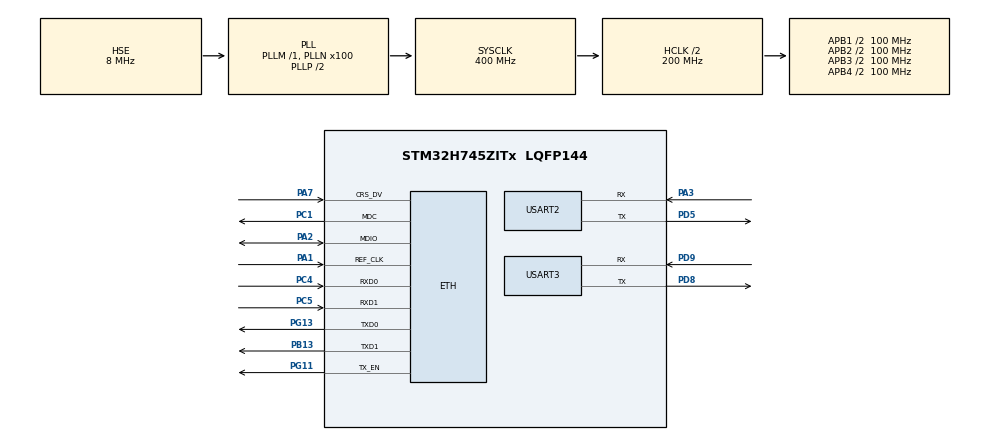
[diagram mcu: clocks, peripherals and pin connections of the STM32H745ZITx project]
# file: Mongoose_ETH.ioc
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CortexM4.IPs=FATFS_M4\:I,FREERTOS_M4\:I,IWDG2\:I,RCC,WWDG2\:I,DMA,BDMA,MDMA,NVIC2\:I,DEBUG,USB_DEVICE_M4\:I,USB_HOST_M4\:I,PDM2PCM_M4\:I,PWR,RESMGR_UTILITY,SYS_M4\:I,CORTEX_M4\:I,OPENAMP_M4\:I,VREFBUF,GPIO,USART2
CortexM7.IPs=FATFS_M7\:I,FREERTOS_M7\:I,IWDG1\:I,RCC\:I,WWDG1\:I,DMA\:I,BDMA\:I,MDMA\:I,NVIC1\:I,SYS\:I,USB_OTG_FS\:I,ETH\:I,CORTEX_M7\:I,DEBUG\:I,USB_DEVICE_M7\:I,USB_HOST_M7\:I,PDM2PCM_M7\:I,PWR\:I,RESMGR_UTILITY\:I,OPENAMP_M7\:I,VREFBUF\:I,GPIO\:I,USART3\:I,RNG\:I,USART2\:I
ETH.MediaInterface=HAL_ETH_RMII_MODE
ETH.RxDescAddress=0x30000000
ETH.TxDescAddress=0x30000080
Mcu.Family=STM32H7
Mcu.Name=STM32H745ZITx
Mcu.Package=LQFP144
NVIC1.ETH_IRQn=true\:0\:0\:false\:false\:true\:true\:true\:true
NVIC1.PriorityGroup=NVIC_PRIORITYGROUP_4
NVIC1.USART2_IRQn=true\:0\:0\:false\:false\:true\:true\:true\:true
NVIC2.PriorityGroup=NVIC_PRIORITYGROUP_4
PA1.GPIO_Speed=GPIO_SPEED_FREQ_LOW
PA1.Mode=RMII
PA1.PinAttribute=CortexM7
PA1.Signal=ETH_REF_CLK
PA2.GPIO_Speed=GPIO_SPEED_FREQ_LOW
PA2.Mode=RMII
PA2.PinAttribute=CortexM7
PA2.Signal=ETH_MDIO
PA3.Mode=Asynchronous
PA3.PinAttribute=CortexM7
PA3.Signal=USART2_RX
PA7.GPIO_Speed=GPIO_SPEED_FREQ_LOW
PA7.Mode=RMII
PA7.PinAttribute=CortexM7
PA7.Signal=ETH_CRS_DV
PB13.GPIO_Speed=GPIO_SPEED_FREQ_LOW
PB13.Mode=RMII
PB13.PinAttribute=CortexM7
PB13.Signal=ETH_TXD1
PC1.Mode=RMII
PC1.PinAttribute=CortexM7
PC1.Signal=ETH_MDC
PC4.GPIO_Speed=GPIO_SPEED_FREQ_LOW
PC4.Mode=RMII
PC4.PinAttribute=CortexM7
PC4.Signal=ETH_RXD0
PC5.GPIO_Speed=GPIO_SPEED_FREQ_LOW
PC5.Mode=RMII
PC5.PinAttribute=CortexM7
PC5.Signal=ETH_RXD1
PD5.Mode=Asynchronous
PD5.PinAttribute=CortexM7
PD5.Signal=USART2_TX
PD8.Mode=Asynchronous
PD8.PinAttribute=CortexM7
PD8.Signal=USART3_TX
PD9.Mode=Asynchronous
PD9.PinAttribute=CortexM7
PD9.Signal=USART3_RX
PG11.GPIO_Speed=GPIO_SPEED_FREQ_LOW
PG11.Mode=RMII
PG11.PinAttribute=CortexM7
PG11.Signal=ETH_TX_EN
PG13.GPIO_Speed=GPIO_SPEED_FREQ_LOW
PG13.Mode=RMII
PG13.PinAttribute=CortexM7
PG13.Signal=ETH_TXD0
PH0-OSC_IN\ (PH0).Mode=HSE-External-Oscillator
PH0-OSC_IN\ (PH0).PinAttribute=Free
PH0-OSC_IN\ (PH0).Signal=RCC_OSC_IN
PH1-OSC_OUT\ (PH1).Mode=HSE-External-Oscillator
PH1-OSC_OUT\ (PH1).PinAttribute=Free
PH1-OSC_OUT\ (PH1).Signal=RCC_OSC_OUT
ProjectManager.HeapSize=M4-0x200,M7-0x200
ProjectManager.StackSize=M4-0x400,M7-0x400
ProjectManager.TargetToolchain=STM32CubeIDE
RCC.ADCFreq_Value=16125000
RCC.APB1Freq_Value=100000000
RCC.APB2Freq_Value=100000000
RCC.APB3Freq_Value=100000000
RCC.APB4Freq_Value=100000000
RCC.CortexFreq_Value=400000000
RCC.D1PPRE=RCC_APB3_DIV2
RCC.D2PPRE1=RCC_APB1_DIV2
RCC.D2PPRE2=RCC_APB2_DIV2
RCC.D3PPRE=RCC_APB4_DIV2
RCC.DIVM1=1
RCC.DIVM3=1
RCC.DIVN1=100
RCC.DIVN3=18
RCC.DIVQ3=3
RCC.HCLKFreq_Value=200000000
RCC.HPRE=RCC_HCLK_DIV2
RCC.HSE_VALUE=8000000
RCC.PLL2FRACN=0
RCC.PLL3FRACN=6144
RCC.PLLFRACN=0
RCC.PLLSourceVirtual=RCC_PLLSOURCE_HSE
RCC.SYSCLKFreq_VALUE=400000000
RCC.SYSCLKSource=RCC_SYSCLKSOURCE_PLLCLK
RCC.SupplySource=PWR_DIRECT_SMPS_SUPPLY
RCC.USBCLockSelection=RCC_USBCLKSOURCE_PLL3
RCC.USBFreq_Value=50000000
USART2.VirtualMode-Asynchronous=VM_ASYNC
USART3.VirtualMode-Asynchronous=VM_ASYNC
VP_RNG_VS_RNG.Mode=RNG_Activate
VP_SYS_M4_VS_Systick.Mode=SysTick
board=NUCLEO-H745ZI-Q

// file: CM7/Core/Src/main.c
/* USER CODE BEGIN Header */
/**
  ******************************************************************************
  * @file           : main.c
  * @brief          : Main program body
  ******************************************************************************
  * @attention
  *
  * Copyright (c) 2024 STMicroelectronics.
  * All rights reserved.
  *
  * This software is licensed under terms that can be found in the LICENSE file
  * in the root directory of this software component.
  * If no LICENSE file comes with this software, it is provided AS-IS.
  *
  ******************************************************************************
  */
/* USER CODE END Header */
#include "main.h"
#include "string.h"

/* USER CODE BEGIN Includes */
/* USER CODE BEGIN Includes */
#include "mongoose_glue.h"
/* USER CODE END Includes */

/* USER CODE BEGIN PD */

#ifndef HSEM_ID_0
#define HSEM_ID_0 (0U) /* HW semaphore 0*/
#endif

/* USER CODE END PD */

/* USER CODE BEGIN PM */
#define scaling_factor 0.01f
/* USER CODE END PM */

#if defined ( __ICCARM__ ) /*!< IAR Compiler */
#pragma location=0x30000000
ETH_DMADescTypeDef  DMARxDscrTab[ETH_RX_DESC_CNT]; /* Ethernet Rx DMA Descriptors */
#pragma location=0x30000080
ETH_DMADescTypeDef  DMATxDscrTab[ETH_TX_DESC_CNT]; /* Ethernet Tx DMA Descriptors */

#elif defined ( __CC_ARM )  /* MDK ARM Compiler */

__attribute__((at(0x30000000))) ETH_DMADescTypeDef  DMARxDscrTab[ETH_RX_DESC_CNT]; /* Ethernet Rx DMA Descriptors */
__attribute__((at(0x30000080))) ETH_DMADescTypeDef  DMATxDscrTab[ETH_TX_DESC_CNT]; /* Ethernet Tx DMA Descriptors */

#elif defined ( __GNUC__ ) /* GNU Compiler */

ETH_DMADescTypeDef DMARxDscrTab[ETH_RX_DESC_CNT] __attribute__((section(".RxDecripSection"))); /* Ethernet Rx DMA Descriptors */
ETH_DMADescTypeDef DMATxDscrTab[ETH_TX_DESC_CNT] __attribute__((section(".TxDecripSection")));   /* Ethernet Tx DMA Descriptors */
#endif

ETH_TxPacketConfig TxConfig;
ETH_HandleTypeDef heth;
RNG_HandleTypeDef hrng;
UART_HandleTypeDef huart2;
UART_HandleTypeDef huart3;

/* USER CODE BEGIN PV */
float scaledValue = 0.0f;
volatile uint16_t uart_hex_value = 0;  // Stores parsed HEX value
volatile bool uart_data_ready = false; // Flag for new data
uint8_t uart_rx_buffer[128];           // UART receive buffer
/* USER CODE END PV */

void SystemClock_Config(void);
static void MX_GPIO_Init(void);
static void MX_ETH_Init(void);
static void MX_USART3_UART_Init(void);
static void MX_RNG_Init(void);
static void MX_USART2_UART_Init(void);
/* USER CODE BEGIN PFP */
//static void run_mongoose(void);
void modbus_handler(void *arg);
/* USER CODE END PFP */

/* USER CODE BEGIN 0 */

bool mg_random(void *buf, size_t len) {  // Use on-board RNG
  for (size_t n = 0; n < len; n += sizeof(uint32_t)) {
    uint32_t r;
    HAL_RNG_GenerateRandomNumber(&hrng, &r);
    memcpy((char *) buf + n, &r, n + sizeof(r) > len ? len - n : sizeof(r));
  }
  return true; // TODO(): ensure successful RNG init, then return on false above
}

uint64_t mg_millis(void) {
  return HAL_GetTick();
}

int _write(int fd, unsigned char *buf, int len) {
  if (fd == 1 || fd == 2) {                     // stdout or stderr ?
    HAL_UART_Transmit(&huart3, buf, len, 999);  // Print to the UART
  }
  return len;
}

void HAL_UART_RxCpltCallback(UART_HandleTypeDef *huart) {
  if (huart == &huart2) {
    size_t received_len = huart->RxXferSize - huart->RxXferCount;
    if (received_len >= sizeof(uart_rx_buffer)) {
      received_len = sizeof(uart_rx_buffer) - 1;
    }
    uart_rx_buffer[received_len] = '\0';
    char *ptr = strstr((char*)uart_rx_buffer, "udpr");
    if (ptr != NULL) {
      char *hex_start = strrchr(ptr, ' ');
      if (hex_start != NULL) {
        hex_start++;
        char *endptr;
        errno = 0;
        unsigned long value = strtoul(hex_start, &endptr, 16);
        if (endptr != hex_start && errno == 0 && value <= UINT16_MAX) {
          uart_hex_value = (uint16_t)value;
          uart_data_ready = true;
        } else {
          uart_hex_value = 1;
        }
      }
    }
    HAL_UART_Receive_IT(&huart2, uart_rx_buffer, sizeof(uart_rx_buffer));
  }
}

/* USER CODE END 0 */

int main(void)
{

/* USER CODE BEGIN Boot_Mode_Sequence_0 */
//  int32_t timeout;
/* USER CODE END Boot_Mode_Sequence_0 */

/* USER CODE BEGIN Boot_Mode_Sequence_1 */
  /* Wait until CPU2 boots and enters in stop mode or timeout*/
//  timeout = 0xFFFF;
//  while((__HAL_RCC_GET_FLAG(RCC_FLAG_D2CKRDY) != RESET) && (timeout-- > 0));
//  if ( timeout < 0 )
//  {
//  Error_Handler();
//  }
/* USER CODE END Boot_Mode_Sequence_1 */
  /* MCU Configuration--------------------------------------------------------*/

  /* Reset of all peripherals, Initializes the Flash interface and the Systick. */
  HAL_Init();

  /* Configure the system clock */
  SystemClock_Config();
/* USER CODE BEGIN Boot_Mode_Sequence_2 */
/* When system initialization is finished, Cortex-M7 will release Cortex-M4 by means of
HSEM notification */
/*HW semaphore Clock enable*/
//__HAL_RCC_HSEM_CLK_ENABLE();
///*Take HSEM */
//HAL_HSEM_FastTake(HSEM_ID_0);
///*Release HSEM in order to notify the CPU2(CM4)*/
//HAL_HSEM_Release(HSEM_ID_0,0);
/* wait until CPU2 wakes up from stop mode */
//timeout = 0xFFFF;
//while((__HAL_RCC_GET_FLAG(RCC_FLAG_D2CKRDY) == RESET) && (timeout-- > 0));
//if ( timeout < 0 )
//{
//Error_Handler();
//}
/* USER CODE END Boot_Mode_Sequence_2 */

  /* Initialize all configured peripherals */
  MX_GPIO_Init();
  MX_ETH_Init();
  MX_USART3_UART_Init();
  MX_RNG_Init();
  MX_USART2_UART_Init();
  /* USER CODE BEGIN 2 */
  HAL_UART_Receive_IT(&huart2, uart_rx_buffer, sizeof(uart_rx_buffer));
  mongoose_init();
  /* USER CODE END 2 */

  /* Infinite loop */
  while (1)
  {

    /* USER CODE BEGIN 3 */
	  mongoose_poll();

  }
  /* USER CODE END 3 */
}

void SystemClock_Config(void)
{
  RCC_OscInitTypeDef RCC_OscInitStruct = {0};
  RCC_ClkInitTypeDef RCC_ClkInitStruct = {0};

  /** Supply configuration update enable
  */
  HAL_PWREx_ConfigSupply(PWR_DIRECT_SMPS_SUPPLY);

  /** Configure the main internal regulator output voltage
  */
  __HAL_PWR_VOLTAGESCALING_CONFIG(PWR_REGULATOR_VOLTAGE_SCALE1);

  while(!__HAL_PWR_GET_FLAG(PWR_FLAG_VOSRDY)) {}

  /** Initializes the RCC Oscillators according to the specified parameters
  * in the RCC_OscInitTypeDef structure.
  */
  RCC_OscInitStruct.OscillatorType = RCC_OSCILLATORTYPE_HSI48|RCC_OSCILLATORTYPE_HSE;
  RCC_OscInitStruct.HSEState = RCC_HSE_ON;
  RCC_OscInitStruct.HSI48State = RCC_HSI48_ON;
  RCC_OscInitStruct.PLL.PLLState = RCC_PLL_ON;
  RCC_OscInitStruct.PLL.PLLSource = RCC_PLLSOURCE_HSE;
  RCC_OscInitStruct.PLL.PLLM = 1;
  RCC_OscInitStruct.PLL.PLLN = 100;
  RCC_OscInitStruct.PLL.PLLP = 2;
  RCC_OscInitStruct.PLL.PLLQ = 2;
  RCC_OscInitStruct.PLL.PLLR = 2;
  RCC_OscInitStruct.PLL.PLLRGE = RCC_PLL1VCIRANGE_3;
  RCC_OscInitStruct.PLL.PLLVCOSEL = RCC_PLL1VCOWIDE;
  RCC_OscInitStruct.PLL.PLLFRACN = 0;
  if (HAL_RCC_OscConfig(&RCC_OscInitStruct) != HAL_OK)
  {
    Error_Handler();
  }

  /** Initializes the CPU, AHB and APB buses clocks
  */
  RCC_ClkInitStruct.ClockType = RCC_CLOCKTYPE_HCLK|RCC_CLOCKTYPE_SYSCLK
                              |RCC_CLOCKTYPE_PCLK1|RCC_CLOCKTYPE_PCLK2
                              |RCC_CLOCKTYPE_D3PCLK1|RCC_CLOCKTYPE_D1PCLK1;
  RCC_ClkInitStruct.SYSCLKSource = RCC_SYSCLKSOURCE_PLLCLK;
  RCC_ClkInitStruct.SYSCLKDivider = RCC_SYSCLK_DIV1;
  RCC_ClkInitStruct.AHBCLKDivider = RCC_HCLK_DIV2;
  RCC_ClkInitStruct.APB3CLKDivider = RCC_APB3_DIV2;
  RCC_ClkInitStruct.APB1CLKDivider = RCC_APB1_DIV2;
  RCC_ClkInitStruct.APB2CLKDivider = RCC_APB2_DIV2;
  RCC_ClkInitStruct.APB4CLKDivider = RCC_APB4_DIV2;

  if (HAL_RCC_ClockConfig(&RCC_ClkInitStruct, FLASH_LATENCY_2) != HAL_OK)
  {
    Error_Handler();
  }
}

static void MX_ETH_Init(void)
{

   static uint8_t MACAddr[6];

  heth.Instance = ETH;
  MACAddr[0] = 0x00;
  MACAddr[1] = 0x80;
  MACAddr[2] = 0xE1;
  MACAddr[3] = 0x00;
  MACAddr[4] = 0x00;
  MACAddr[5] = 0x00;
  heth.Init.MACAddr = &MACAddr[0];
  heth.Init.MediaInterface = HAL_ETH_RMII_MODE;
  heth.Init.TxDesc = DMATxDscrTab;
  heth.Init.RxDesc = DMARxDscrTab;
  heth.Init.RxBuffLen = 1524;

  if (HAL_ETH_Init(&heth) != HAL_OK)
  {
    Error_Handler();
  }

  memset(&TxConfig, 0 , sizeof(ETH_TxPacketConfig));
  TxConfig.Attributes = ETH_TX_PACKETS_FEATURES_CSUM | ETH_TX_PACKETS_FEATURES_CRCPAD;
  TxConfig.ChecksumCtrl = ETH_CHECKSUM_IPHDR_PAYLOAD_INSERT_PHDR_CALC;
  TxConfig.CRCPadCtrl = ETH_CRC_PAD_INSERT;

}

static void MX_RNG_Init(void)
{

  hrng.Instance = RNG;
  hrng.Init.ClockErrorDetection = RNG_CED_ENABLE;
  if (HAL_RNG_Init(&hrng) != HAL_OK)
  {
    Error_Handler();
  }

}

static void MX_USART2_UART_Init(void)
{

  huart2.Instance = USART2;
  huart2.Init.BaudRate = 115200;
  huart2.Init.WordLength = UART_WORDLENGTH_8B;
  huart2.Init.StopBits = UART_STOPBITS_1;
  huart2.Init.Parity = UART_PARITY_NONE;
  huart2.Init.Mode = UART_MODE_TX_RX;
  huart2.Init.HwFlowCtl = UART_HWCONTROL_NONE;
  huart2.Init.OverSampling = UART_OVERSAMPLING_16;
  huart2.Init.OneBitSampling = UART_ONE_BIT_SAMPLE_DISABLE;
  huart2.Init.ClockPrescaler = UART_PRESCALER_DIV1;
  huart2.AdvancedInit.AdvFeatureInit = UART_ADVFEATURE_NO_INIT;
  if (HAL_UART_Init(&huart2) != HAL_OK)
  {
    Error_Handler();
  }
  if (HAL_UARTEx_SetTxFifoThreshold(&huart2, UART_TXFIFO_THRESHOLD_1_8) != HAL_OK)
  {
    Error_Handler();
  }
  if (HAL_UARTEx_SetRxFifoThreshold(&huart2, UART_RXFIFO_THRESHOLD_1_8) != HAL_OK)
  {
    Error_Handler();
  }
  if (HAL_UARTEx_DisableFifoMode(&huart2) != HAL_OK)
  {
    Error_Handler();
  }

}

static void MX_USART3_UART_Init(void)
{

  huart3.Instance = USART3;
  huart3.Init.BaudRate = 115200;
  huart3.Init.WordLength = UART_WORDLENGTH_8B;
  huart3.Init.StopBits = UART_STOPBITS_1;
  huart3.Init.Parity = UART_PARITY_NONE;
  huart3.Init.Mode = UART_MODE_TX_RX;
  huart3.Init.HwFlowCtl = UART_HWCONTROL_NONE;
  huart3.Init.OverSampling = UART_OVERSAMPLING_16;
  huart3.Init.OneBitSampling = UART_ONE_BIT_SAMPLE_DISABLE;
  huart3.Init.ClockPrescaler = UART_PRESCALER_DIV1;
  huart3.AdvancedInit.AdvFeatureInit = UART_ADVFEATURE_NO_INIT;
  if (HAL_UART_Init(&huart3) != HAL_OK)
  {
    Error_Handler();
  }
  if (HAL_UARTEx_SetTxFifoThreshold(&huart3, UART_TXFIFO_THRESHOLD_1_8) != HAL_OK)
  {
    Error_Handler();
  }
  if (HAL_UARTEx_SetRxFifoThreshold(&huart3, UART_RXFIFO_THRESHOLD_1_8) != HAL_OK)
  {
    Error_Handler();
  }
  if (HAL_UARTEx_DisableFifoMode(&huart3) != HAL_OK)
  {
    Error_Handler();
  }

}

static void MX_GPIO_Init(void)
{

  /* GPIO Ports Clock Enable */
  __HAL_RCC_GPIOC_CLK_ENABLE();
  __HAL_RCC_GPIOA_CLK_ENABLE();
  __HAL_RCC_GPIOB_CLK_ENABLE();
  __HAL_RCC_GPIOD_CLK_ENABLE();
  __HAL_RCC_GPIOG_CLK_ENABLE();

}

void Error_Handler(void)
{
  __disable_irq();
  while (1)
  {
  }
}
